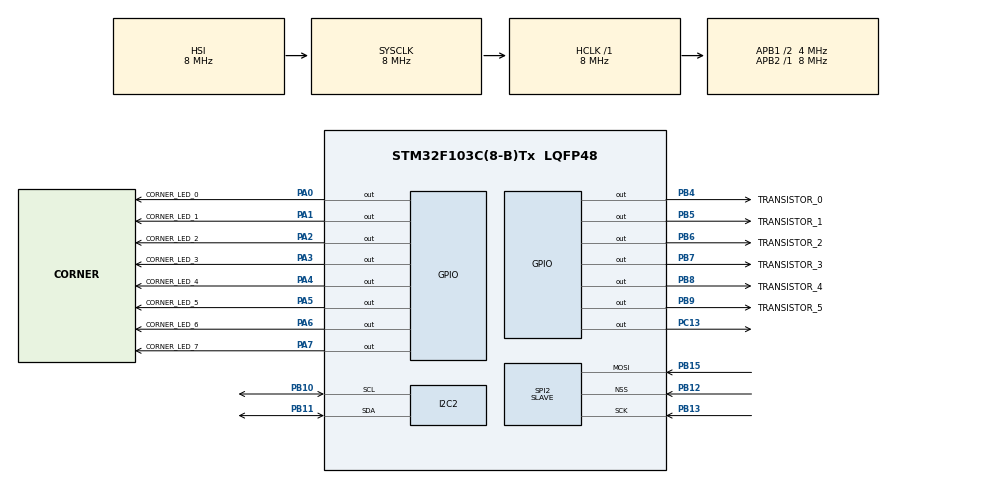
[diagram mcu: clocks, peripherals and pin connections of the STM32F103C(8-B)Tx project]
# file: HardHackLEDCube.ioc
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I2C2.I2C_Mode=I2C_Fast
Mcu.Family=STM32F1
Mcu.Name=STM32F103C(8-B)Tx
Mcu.Package=LQFP48
NVIC.PriorityGroup=NVIC_PRIORITYGROUP_4
PA0-WKUP.GPIO_Label=CORNER_LED_0
PA0-WKUP.Signal=GPIO_Output
PA1.GPIO_Label=CORNER_LED_1
PA1.Signal=GPIO_Output
PA13.Mode=Trace_Asynchronous_SW
PA13.Signal=SYS_JTMS-SWDIO
PA14.Mode=Trace_Asynchronous_SW
PA14.Signal=SYS_JTCK-SWCLK
PA2.GPIO_Label=CORNER_LED_2
PA2.Signal=GPIO_Output
PA3.GPIO_Label=CORNER_LED_3
PA3.Signal=GPIO_Output
PA4.GPIO_Label=CORNER_LED_4
PA4.Signal=GPIO_Output
PA5.GPIO_Label=CORNER_LED_5
PA5.Signal=GPIO_Output
PA6.GPIO_Label=CORNER_LED_6
PA6.Signal=GPIO_Output
PA7.GPIO_Label=CORNER_LED_7
PA7.Signal=GPIO_Output
PB10.Mode=I2C
PB10.Signal=I2C2_SCL
PB11.Mode=I2C
PB11.Signal=I2C2_SDA
PB12.Mode=NSS_Signal_Hard_Input
PB12.Signal=SPI2_NSS
PB13.Mode=RX_Only_Simplex_Unidirect_Slave
PB13.Signal=SPI2_SCK
PB15.Mode=RX_Only_Simplex_Unidirect_Slave
PB15.Signal=SPI2_MOSI
PB3.Mode=Trace_Asynchronous_SW
PB3.Signal=SYS_JTDO-TRACESWO
PB4.GPIO_Label=TRANSISTOR_0
PB4.Signal=GPIO_Output
PB5.GPIO_Label=TRANSISTOR_1
PB5.Signal=GPIO_Output
PB6.GPIO_Label=TRANSISTOR_2
PB6.Signal=GPIO_Output
PB7.GPIO_Label=TRANSISTOR_3
PB7.Signal=GPIO_Output
PB8.GPIO_Label=TRANSISTOR_4
PB8.Signal=GPIO_Output
PB9.GPIO_Label=TRANSISTOR_5
PB9.Signal=GPIO_Output
PC13-TAMPER-RTC.Signal=GPIO_Output
PD0-OSC_IN.Mode=HSE-External-Oscillator
PD0-OSC_IN.Signal=RCC_OSC_IN
PD1-OSC_OUT.Mode=HSE-External-Oscillator
PD1-OSC_OUT.Signal=RCC_OSC_OUT
ProjectManager.HeapSize=0x200
ProjectManager.StackSize=0x400
ProjectManager.TargetToolchain=STM32CubeIDE
RCC.AHBFreq_Value=8000000
RCC.APB1CLKDivider=RCC_HCLK_DIV2
RCC.APB1Freq_Value=4000000
RCC.APB1TimFreq_Value=8000000
RCC.APB2Freq_Value=8000000
RCC.APB2TimFreq_Value=8000000
RCC.HCLKFreq_Value=8000000
RCC.PLLMUL=RCC_PLL_MUL9
RCC.PLLSourceVirtual=RCC_PLLSOURCE_HSE
RCC.SYSCLKFreq_VALUE=8000000
RCC.USBFreq_Value=72000000
SPI2.DataSize=SPI_DATASIZE_8BIT
SPI2.Direction=SPI_DIRECTION_2LINES_RXONLY
SPI2.Mode=SPI_MODE_SLAVE
SPI2.VirtualNSS=VM_NSSHARD
SPI2.VirtualType=VM_SLAVE
board=custom

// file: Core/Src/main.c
/* USER CODE BEGIN Header */
/**
  ******************************************************************************
  * @file           : main.c
  * @brief          : Main program body
  ******************************************************************************
  * @attention
  *
  * Copyright (c) 2024 STMicroelectronics.
  * All rights reserved.
  *
  * This software is licensed under terms that can be found in the LICENSE file
  * in the root directory of this software component.
  * If no LICENSE file comes with this software, it is provided AS-IS.
  *
  ******************************************************************************
  */
/* USER CODE END Header */
#include "main.h"

/* USER CODE BEGIN Includes */
#include <stdbool.h>

/* USER CODE END Includes */

/* USER CODE BEGIN PD */

// maximum rows/cols/depths that the cube is anticipated to have
#define MAX_DIM 6

// number of corners on a cube
#define NUM_CORNERS 8

// actual cube dims
#define CUBE_ROWS 4
#define CUBE_COLS 4
#define CUBE_DEPTH 4

#define CORNER_PORT GPIOA
#define TRANSISTOR_PORT GPIOB

// PCA9685 stuff
#define PCA9685_ADDR 0xE0
#define ALL_LED_ON_L 0xFA
#define LED0_ON_L 0x06
#define LED0_ON_H 0x07
#define LED0_OFF_L 0x08
#define LED0_OFF_H 0x09
#define LED1_ON_H 0x0A
#define LED1_OFF_H 0x0B

// wait SPI_TIMEOUT seconds before giving up waiting for spi data from master
#define SPI_TIMEOUT 100

/* USER CODE END PD */

I2C_HandleTypeDef hi2c2;

SPI_HandleTypeDef hspi2;

/* USER CODE BEGIN PV */

/**
 * Pins A5-7 and B0 should be reserved for SPI (assuming that's what we're using to communicate between Pi and STM32).
 *
 * The transistors and corner LEDs will be controlled directly by the microcontroller, while
 * the other 32 LEDs will be controlled through the PCA9685.
 */

// Corner Pins (assume on port CORNER_PORT)
static const uint16_t cornerPinMap[NUM_CORNERS] = {GPIO_PIN_0, GPIO_PIN_1, GPIO_PIN_2, GPIO_PIN_3, GPIO_PIN_4, GPIO_PIN_5, GPIO_PIN_6, GPIO_PIN_7};

// Transistor Pins (assume on port TRANSISTOR_PORT)
static const uint16_t transistorPinMap[MAX_DIM] = {GPIO_PIN_4, GPIO_PIN_5, GPIO_PIN_6, GPIO_PIN_7, GPIO_PIN_8, GPIO_PIN_9};

/* USER CODE END PV */

void SystemClock_Config(void);
static void MX_GPIO_Init(void);
static void MX_I2C2_Init(void);
static void MX_SPI2_Init(void);
/* USER CODE BEGIN PFP */

/**
 * TODO write function header comment explaining functionality here
 */
bool isCornerLED(uint8_t row, uint8_t col, uint8_t depth) {
  return (depth == 0 && row == 0 && col == 0) ||
         (depth == 0 && row == 0 && col == CUBE_COLS-1) ||
         (depth == 0 && row == CUBE_ROWS-1 && col == 0) ||
         (depth == 0 && row == CUBE_ROWS-1 && col == CUBE_COLS-1) ||
         (depth == CUBE_DEPTH-1 && row == 0 && col == 0) ||
         (depth == CUBE_DEPTH-1 && row == 0 && col == CUBE_COLS-1) ||
         (depth == CUBE_DEPTH-1 && row == CUBE_ROWS-1 && col == 0) ||
         (depth == CUBE_DEPTH-1 && row == CUBE_ROWS-1 && col == CUBE_COLS-1);
}

/**
 * TODO write function header comment explaining functionality here
 */
uint8_t cornerToDigit(uint8_t row, uint8_t col, uint8_t depth) {
  return ((row != 0) << 2) | ((col != 0) << 1) | (depth != 0);
}

/**
 * TODO write function header comment explaining functionality here
 */
void setPCAOutput(uint8_t ledID, bool on) {
  uint8_t buf[5];
  buf[0] = (ledID == 16)? ALL_LED_ON_L : LED0_ON_L + (4 * ledID);
  buf[1] = 0;
  buf[2] = on? 0b00010000 : 0; // on high byte
  buf[3] = 0;
  buf[4] = on? 0 : 0b00010000; // off high byte
  HAL_I2C_Master_Transmit(&hi2c2, PCA9685_ADDR, buf, 5, HAL_MAX_DELAY);
}

/**
 * Given a 3D array representing the target state of the LED cube,
 * drive each LED to match that state.
 *
 * @param cubeState: The 3D array representing the next frame of the LED cube.
 */
void driveLEDs(uint8_t* rawState) {
  // store SPI data in 3D state matrix
  uint8_t cubeState[CUBE_DEPTH][CUBE_ROWS*CUBE_COLS];
//  for (uint8_t depth = 0; depth < CUBE_ROWS; depth++) {
//    for (uint8_t col = 0; col < CUBE_COLS; col++) {
//      for (uint8_t row = 0; row < CUBE_DEPTH; row ++) {
//        cubeState[row][col][depth] = rawState[];
//      }
//    }
//  }

//  for (uint8_t i = 0; i < 8; i++) {
//    for (uint8_t j = 0; j < 8; j++) {
//      uint8_t bit = (rawState[i] >> j) & 1;
//      cubeState[(i%2) + (j > 3)][j%4][i/2] = bit;
//    }
//  }

//  for (size_t i = 0; i < 8; ++i) {
//         for (int j = 0; j < 8; ++j) {  // There are 8 bits in a byte
//             if (i * 8 + j >= 64) break;  // Stop if we've processed all cube bits
//             uint8_t bit = rawState[i] & (1 << j);
//             if (bit) {  // Check if the j-th bit in the i-th byte is set
//                 int index = i * 8 + j;
//                 int z = index / (CUBE_ROWS * CUBE_ROWS);
//                 int y = (index % (CUBE_ROWS * CUBE_ROWS)) / CUBE_ROWS;
//                 int x = index % CUBE_ROWS;
//                 cubeState[x][y][z] = bit;
//             }
//         }
//     }
  // for every depth
  for (size_t z = 0; z < 4; z++) {
    for (int y = 1 + 2*z; y <= 2*(z+1); y++) {
      // for every byte
      for (int j = 0; j < 8; j++) {
        // for every bit
        uint8_t bit = rawState[y] & (1 << j);
        cubeState[z][y * j] = bit;
      }
    }
  }

  for (uint8_t depth = 0; depth < CUBE_DEPTH; depth++) {
    // turn the corresponding depth transistor on (pull it high)
    HAL_GPIO_WritePin(TRANSISTOR_PORT, transistorPinMap[depth], GPIO_PIN_SET);

    for (int x = 0; x < 16; x++) {
      setPCAOutput(x, !cubeState[depth][x]);
    }

    // turn off the depth transistor (pull it low)
    HAL_GPIO_WritePin(TRANSISTOR_PORT, transistorPinMap[depth], GPIO_PIN_RESET);
  }
}

void testLEDs() {
  HAL_GPIO_WritePin(TRANSISTOR_PORT, transistorPinMap[0], GPIO_PIN_SET);
  HAL_GPIO_WritePin(TRANSISTOR_PORT, transistorPinMap[1], GPIO_PIN_RESET);
  HAL_GPIO_WritePin(TRANSISTOR_PORT, transistorPinMap[2], GPIO_PIN_RESET);
  HAL_GPIO_WritePin(TRANSISTOR_PORT, transistorPinMap[3], GPIO_PIN_RESET);

  for (int dep = 0; dep < 4; dep++) {

    HAL_GPIO_WritePin(TRANSISTOR_PORT, transistorPinMap[0], dep == 0);
    HAL_GPIO_WritePin(TRANSISTOR_PORT, transistorPinMap[1], dep == 1);
    HAL_GPIO_WritePin(TRANSISTOR_PORT, transistorPinMap[2], dep == 2);
    HAL_GPIO_WritePin(TRANSISTOR_PORT, transistorPinMap[3], dep == 3);

    for (int i = 0; i < 16; i++) {
      setPCAOutput(i, false);
      for (int j = 0; j < 16; j++) {
        if (j != i) {
          setPCAOutput(j, true);
        }
      }
      HAL_Delay(50);
    }
  }
}

void animation1() {
  for (int i = 0; i < 4; i++) {
    HAL_GPIO_WritePin(TRANSISTOR_PORT, transistorPinMap[0], GPIO_PIN_SET);
  }

  HAL_Delay(500);

  for (int i = 4; i >= 0; i--) {
    HAL_GPIO_WritePin(TRANSISTOR_PORT, transistorPinMap[0], GPIO_PIN_RESET);
    HAL_Delay(500);
  }
}

void resetEverything() {
  for (int i = 0; i < 16; i++) {
    setPCAOutput(i, true);
  }
}

void sideAnimDONTUSE() {
  resetEverything();

  HAL_GPIO_WritePin(TRANSISTOR_PORT, transistorPinMap[0], GPIO_PIN_SET);
  HAL_GPIO_WritePin(TRANSISTOR_PORT, transistorPinMap[1], GPIO_PIN_SET);
  HAL_GPIO_WritePin(TRANSISTOR_PORT, transistorPinMap[2], GPIO_PIN_SET);
  HAL_GPIO_WritePin(TRANSISTOR_PORT, transistorPinMap[3], GPIO_PIN_SET);

  setPCAOutput(0, !true);
  setPCAOutput(1, !true);
  setPCAOutput(2, !true);
  setPCAOutput(3, !true);

  HAL_Delay(500);

  setPCAOutput(4, !true);
  setPCAOutput(5, !true);
  setPCAOutput(6, !true);
  setPCAOutput(7, !true);

  HAL_Delay(500);

  setPCAOutput(8, !true);
  setPCAOutput(9, !true);
  setPCAOutput(10, !true);
  setPCAOutput(11, !true);

  HAL_Delay(500);

  setPCAOutput(12, !true);
  setPCAOutput(13, !true);
  setPCAOutput(14, !true);
  setPCAOutput(15, !true);

  HAL_Delay(500);
  resetEverything();
  HAL_Delay(500);
}

void spinningColumn() {
  resetEverything();
  HAL_GPIO_WritePin(TRANSISTOR_PORT, transistorPinMap[0], GPIO_PIN_SET);
  HAL_GPIO_WritePin(TRANSISTOR_PORT, transistorPinMap[1], GPIO_PIN_SET);
  HAL_GPIO_WritePin(TRANSISTOR_PORT, transistorPinMap[2], GPIO_PIN_SET);
  HAL_GPIO_WritePin(TRANSISTOR_PORT, transistorPinMap[3], GPIO_PIN_SET);
  for (int i = 0; i < 16; i++) {
      if (i == 5 || i == 6 || i == 9 || i == 10) {
          continue;
      }
      setPCAOutput(i, !true);
      HAL_Delay(100);
  }
}

void checkerboard() {
  HAL_GPIO_WritePin(TRANSISTOR_PORT, transistorPinMap[0], GPIO_PIN_SET);
  HAL_GPIO_WritePin(TRANSISTOR_PORT, transistorPinMap[1], GPIO_PIN_SET);
  HAL_GPIO_WritePin(TRANSISTOR_PORT, transistorPinMap[2], GPIO_PIN_SET);
  HAL_GPIO_WritePin(TRANSISTOR_PORT, transistorPinMap[3], GPIO_PIN_SET);

  setPCAOutput(0, false);
  setPCAOutput(2, false);
  setPCAOutput(5, false);
  setPCAOutput(7, false);

  setPCAOutput(8, false);
  setPCAOutput(10, false);
  setPCAOutput(13, false);
  setPCAOutput(15, false);

  HAL_Delay(1000);

  setPCAOutput(0, true);
  setPCAOutput(2, true);
  setPCAOutput(5, true);
  setPCAOutput(7, true);

  setPCAOutput(8, !false);
  setPCAOutput(10, !false);
  setPCAOutput(13, !false);
  setPCAOutput(15, !false);

  setPCAOutput(1, !true);
  setPCAOutput(3, !true);
  setPCAOutput(4, !true);
  setPCAOutput(6, !true);

  setPCAOutput(9, !true);
  setPCAOutput(11, !true);
  setPCAOutput(12, !true);
  setPCAOutput(14, !true);

  HAL_Delay(1000);

  setPCAOutput(1, !false);
  setPCAOutput(3, !false);
  setPCAOutput(4, !false);
  setPCAOutput(6, !false);

  setPCAOutput(9, !false);
  setPCAOutput(11, !false);
  setPCAOutput(12, !false);
  setPCAOutput(14, !false);
}

void corners() {
  resetEverything();

  for (int i = 0; i < 4; i++) {
    for (int j = 0; j < 4; j++) {
      HAL_GPIO_WritePin(TRANSISTOR_PORT, transistorPinMap[j], GPIO_PIN_RESET);
    }

    HAL_GPIO_WritePin(TRANSISTOR_PORT, transistorPinMap[i], GPIO_PIN_SET);

    setPCAOutput(3, false);
    HAL_Delay(200);

    setPCAOutput(2, false);
    setPCAOutput(7, false);
    HAL_Delay(200);

    setPCAOutput(1, false);
    setPCAOutput(6, false);
    setPCAOutput(11, false);
    HAL_Delay(200);

    setPCAOutput(0, false);
    setPCAOutput(5, false);
    setPCAOutput(10, false);
    setPCAOutput(15, false);
    HAL_Delay(200);

    setPCAOutput(4, false);
    setPCAOutput(9, false);
    setPCAOutput(14, false);
    HAL_Delay(200);

    setPCAOutput(8, false);
    setPCAOutput(13, false);
    HAL_Delay(200);

    setPCAOutput(12, false);
    HAL_Delay(200);

    HAL_GPIO_WritePin(TRANSISTOR_PORT, transistorPinMap[i], GPIO_PIN_RESET);

    resetEverything();
    HAL_Delay(200);
  }
}

void tunneling() {
  resetEverything();
  HAL_GPIO_WritePin(TRANSISTOR_PORT, transistorPinMap[0], GPIO_PIN_RESET);
  HAL_GPIO_WritePin(TRANSISTOR_PORT, transistorPinMap[1], GPIO_PIN_SET);
  HAL_GPIO_WritePin(TRANSISTOR_PORT, transistorPinMap[2], GPIO_PIN_SET);
  HAL_GPIO_WritePin(TRANSISTOR_PORT, transistorPinMap[3], GPIO_PIN_RESET);

  setPCAOutput(4, !true);
  setPCAOutput(8, !true);

  HAL_Delay(300);

  setPCAOutput(5, !true);
  setPCAOutput(9, !true);

  HAL_Delay(300);

  setPCAOutput(6, !true);
  setPCAOutput(10, !true);

  HAL_Delay(300);

  setPCAOutput(7, !true);
  setPCAOutput(11, !true);

  HAL_Delay(300);

  setPCAOutput(4, !false);
  setPCAOutput(8, !false);
  setPCAOutput(5, !false);
  setPCAOutput(9, !false);
  setPCAOutput(6, !false);
  setPCAOutput(10, !false);
  setPCAOutput(7, !false);
  setPCAOutput(11, !false);

  HAL_Delay(300);

  setPCAOutput(13, !true);
  setPCAOutput(14, !true);

  HAL_Delay(300);

  setPCAOutput(9, !true);
  setPCAOutput(10, !true);

  HAL_Delay(300);

  setPCAOutput(5, !true);
  setPCAOutput(6, !true);

  HAL_Delay(300);

  setPCAOutput(1, !true);
  setPCAOutput(2, !true);

  HAL_Delay(300);

  setPCAOutput(13, !false);
  setPCAOutput(14, !false);
  setPCAOutput(9, !false);
  setPCAOutput(10, !false);
  setPCAOutput(5, !false);
  setPCAOutput(6, !false);
  setPCAOutput(1, !false);
  setPCAOutput(2, !false);

  HAL_Delay(300);

  setPCAOutput(7, !true);
  setPCAOutput(11, !true);

  HAL_Delay(300);

  setPCAOutput(6, !true);
  setPCAOutput(10, !true);

  HAL_Delay(300);

  setPCAOutput(5, !true);
  setPCAOutput(9, !true);

  HAL_Delay(300);

  setPCAOutput(4, !true);
  setPCAOutput(8, !true);

  HAL_Delay(300);

  setPCAOutput(4, !false);
  setPCAOutput(8, !false);
  setPCAOutput(5, !false);
  setPCAOutput(9, !false);
  setPCAOutput(6, !false);
  setPCAOutput(10, !false);
  setPCAOutput(7, !false);
  setPCAOutput(11, !false);

  HAL_Delay(300);
  setPCAOutput(1, !true);
  setPCAOutput(2, !true);

  HAL_Delay(300);

  setPCAOutput(5, !true);
  setPCAOutput(6, !true);

  HAL_Delay(300);

  setPCAOutput(9, !true);
  setPCAOutput(10, !true);

  HAL_Delay(300);

  setPCAOutput(13, !true);
  setPCAOutput(14, !true);

  HAL_Delay(300);

  setPCAOutput(13, !false);
  setPCAOutput(14, !false);
  setPCAOutput(9, !false);
  setPCAOutput(10, !false);
  setPCAOutput(5, !false);
  setPCAOutput(6, !false);
  setPCAOutput(1, !false);
  setPCAOutput(2, !false);
}

/* USER CODE END PFP */

int main(void)
{

  /* USER CODE BEGIN 1 */
//  HAL_Delay(1); // necessary before driving PWM pins (according to pca9685 datasheet)

//  buf[0] = 0x01;
//  buf[1] = 0b00001100;
//  HAL_I2C_Master_Transmit(&hi2c2, PCA9685_ADDR, buf, 2, HAL_MAX_DELAY);

  /* USER CODE END 1 */

  /* MCU Configuration--------------------------------------------------------*/

  /* Reset of all peripherals, Initializes the Flash interface and the Systick. */
  HAL_Init();

  /* Configure the system clock */
  SystemClock_Config();

  /* Initialize all configured peripherals */
  MX_GPIO_Init();
  MX_I2C2_Init();
  MX_SPI2_Init();
  /* USER CODE BEGIN 2 */

  // write to mode register 1 (needed to turn off the PWM "sleep")
  uint8_t buf[2];
  buf[0] = 0x00;
  buf[1] = 0b00100001;
  HAL_I2C_Master_Transmit(&hi2c2, PCA9685_ADDR, buf, 2, HAL_MAX_DELAY);

//  uint8_t rawState[(CUBE_ROWS*CUBE_COLS*CUBE_DEPTH)/8];
//  HAL_SPI_Receive_IT(&hspi2, rawState, (CUBE_ROWS*CUBE_COLS*CUBE_DEPTH)/8);

  /* USER CODE END 2 */

  /* Infinite loop */
  while (1)
  {

    /* USER CODE BEGIN 3 */
    // wait until SPI data is received
    // drive LEDs with helper function
//    driveLEDs(rawState);
    for (int i = 0; i < 5; i++) {
      testLEDs();
    }

    for (int i = 0; i < 5; i++) {
      sideAnimDONTUSE();
    }

    for (int i = 0; i < 5; i++) {
      spinningColumn();
    }

    for (int i = 0; i < 5; i++) {
      checkerboard();
    }

    for (int i = 0; i < 5; i++) {
      corners();
    }

    for (int i = 0; i < 5; i++) {
      tunneling();
    }
  }
  /* USER CODE END 3 */
}

void SystemClock_Config(void)
{
  RCC_OscInitTypeDef RCC_OscInitStruct = {0};
  RCC_ClkInitTypeDef RCC_ClkInitStruct = {0};

  /** Initializes the RCC Oscillators according to the specified parameters
  * in the RCC_OscInitTypeDef structure.
  */
  RCC_OscInitStruct.OscillatorType = RCC_OSCILLATORTYPE_HSI;
  RCC_OscInitStruct.HSIState = RCC_HSI_ON;
  RCC_OscInitStruct.HSICalibrationValue = RCC_HSICALIBRATION_DEFAULT;
  RCC_OscInitStruct.PLL.PLLState = RCC_PLL_NONE;
  if (HAL_RCC_OscConfig(&RCC_OscInitStruct) != HAL_OK)
  {
    Error_Handler();
  }

  /** Initializes the CPU, AHB and APB buses clocks
  */
  RCC_ClkInitStruct.ClockType = RCC_CLOCKTYPE_HCLK|RCC_CLOCKTYPE_SYSCLK
                              |RCC_CLOCKTYPE_PCLK1|RCC_CLOCKTYPE_PCLK2;
  RCC_ClkInitStruct.SYSCLKSource = RCC_SYSCLKSOURCE_HSI;
  RCC_ClkInitStruct.AHBCLKDivider = RCC_SYSCLK_DIV1;
  RCC_ClkInitStruct.APB1CLKDivider = RCC_HCLK_DIV2;
  RCC_ClkInitStruct.APB2CLKDivider = RCC_HCLK_DIV1;

  if (HAL_RCC_ClockConfig(&RCC_ClkInitStruct, FLASH_LATENCY_0) != HAL_OK)
  {
    Error_Handler();
  }
}

static void MX_I2C2_Init(void)
{

  hi2c2.Instance = I2C2;
  hi2c2.Init.ClockSpeed = 400000;
  hi2c2.Init.DutyCycle = I2C_DUTYCYCLE_2;
  hi2c2.Init.OwnAddress1 = 0;
  hi2c2.Init.AddressingMode = I2C_ADDRESSINGMODE_7BIT;
  hi2c2.Init.DualAddressMode = I2C_DUALADDRESS_DISABLE;
  hi2c2.Init.OwnAddress2 = 0;
  hi2c2.Init.GeneralCallMode = I2C_GENERALCALL_DISABLE;
  hi2c2.Init.NoStretchMode = I2C_NOSTRETCH_DISABLE;
  if (HAL_I2C_Init(&hi2c2) != HAL_OK)
  {
    Error_Handler();
  }

}

static void MX_SPI2_Init(void)
{

  /* SPI2 parameter configuration*/
  hspi2.Instance = SPI2;
  hspi2.Init.Mode = SPI_MODE_SLAVE;
  hspi2.Init.Direction = SPI_DIRECTION_2LINES_RXONLY;
  hspi2.Init.DataSize = SPI_DATASIZE_8BIT;
  hspi2.Init.CLKPolarity = SPI_POLARITY_LOW;
  hspi2.Init.CLKPhase = SPI_PHASE_1EDGE;
  hspi2.Init.NSS = SPI_NSS_HARD_INPUT;
  hspi2.Init.FirstBit = SPI_FIRSTBIT_MSB;
  hspi2.Init.TIMode = SPI_TIMODE_DISABLE;
  hspi2.Init.CRCCalculation = SPI_CRCCALCULATION_DISABLE;
  hspi2.Init.CRCPolynomial = 10;
  if (HAL_SPI_Init(&hspi2) != HAL_OK)
  {
    Error_Handler();
  }

}

static void MX_GPIO_Init(void)
{
  GPIO_InitTypeDef GPIO_InitStruct = {0};

  /* GPIO Ports Clock Enable */
  __HAL_RCC_GPIOC_CLK_ENABLE();
  __HAL_RCC_GPIOD_CLK_ENABLE();
  __HAL_RCC_GPIOA_CLK_ENABLE();
  __HAL_RCC_GPIOB_CLK_ENABLE();

  /*Configure GPIO pin Output Level */
  HAL_GPIO_WritePin(GPIOC, GPIO_PIN_13, GPIO_PIN_RESET);

  /*Configure GPIO pin Output Level */
  HAL_GPIO_WritePin(GPIOA, CORNER_LED_0_Pin|CORNER_LED_1_Pin|CORNER_LED_2_Pin|CORNER_LED_3_Pin
                          |CORNER_LED_4_Pin|CORNER_LED_5_Pin|CORNER_LED_6_Pin|CORNER_LED_7_Pin, GPIO_PIN_RESET);

  /*Configure GPIO pin Output Level */
  HAL_GPIO_WritePin(GPIOB, TRANSISTOR_0_Pin|TRANSISTOR_1_Pin|TRANSISTOR_2_Pin|TRANSISTOR_3_Pin
                          |TRANSISTOR_4_Pin|TRANSISTOR_5_Pin, GPIO_PIN_RESET);

  /*Configure GPIO pin : PC13 */
  GPIO_InitStruct.Pin = GPIO_PIN_13;
  GPIO_InitStruct.Mode = GPIO_MODE_OUTPUT_PP;
  GPIO_InitStruct.Pull = GPIO_NOPULL;
  GPIO_InitStruct.Speed = GPIO_SPEED_FREQ_LOW;
  HAL_GPIO_Init(GPIOC, &GPIO_InitStruct);

  /*Configure GPIO pins : CORNER_LED_0_Pin CORNER_LED_1_Pin CORNER_LED_2_Pin CORNER_LED_3_Pin
                           CORNER_LED_4_Pin CORNER_LED_5_Pin CORNER_LED_6_Pin CORNER_LED_7_Pin */
  GPIO_InitStruct.Pin = CORNER_LED_0_Pin|CORNER_LED_1_Pin|CORNER_LED_2_Pin|CORNER_LED_3_Pin
                          |CORNER_LED_4_Pin|CORNER_LED_5_Pin|CORNER_LED_6_Pin|CORNER_LED_7_Pin;
  GPIO_InitStruct.Mode = GPIO_MODE_OUTPUT_PP;
  GPIO_InitStruct.Pull = GPIO_NOPULL;
  GPIO_InitStruct.Speed = GPIO_SPEED_FREQ_LOW;
  HAL_GPIO_Init(GPIOA, &GPIO_InitStruct);

  /*Configure GPIO pins : TRANSISTOR_0_Pin TRANSISTOR_1_Pin TRANSISTOR_2_Pin TRANSISTOR_3_Pin
                           TRANSISTOR_4_Pin TRANSISTOR_5_Pin */
  GPIO_InitStruct.Pin = TRANSISTOR_0_Pin|TRANSISTOR_1_Pin|TRANSISTOR_2_Pin|TRANSISTOR_3_Pin
                          |TRANSISTOR_4_Pin|TRANSISTOR_5_Pin;
  GPIO_InitStruct.Mode = GPIO_MODE_OUTPUT_PP;
  GPIO_InitStruct.Pull = GPIO_NOPULL;
  GPIO_InitStruct.Speed = GPIO_SPEED_FREQ_LOW;
  HAL_GPIO_Init(GPIOB, &GPIO_InitStruct);

}

void Error_Handler(void)
{
  __disable_irq();
  while (1)
  {
  }
}
